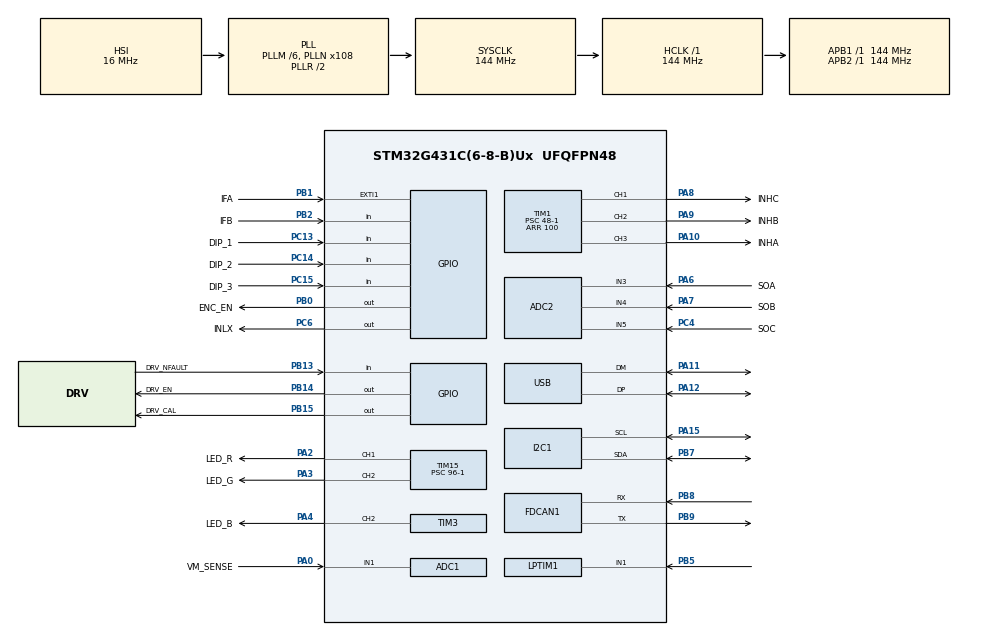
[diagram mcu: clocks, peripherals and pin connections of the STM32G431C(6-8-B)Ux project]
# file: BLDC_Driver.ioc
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ADC1.Channel-1\#ChannelRegularConversion=ADC_CHANNEL_1
ADC1.Channel-2\#ChannelRegularConversion=ADC_CHANNEL_TEMPSENSOR_ADC1
ADC1.ClockPrescaler=ADC_CLOCK_ASYNC_DIV64
ADC1.ContinuousConvMode=ENABLE
ADC1.DMAContinuousRequests=ENABLE
ADC1.NbrOfConversion=2
ADC1.NbrOfConversionFlag=1
ADC1.OffsetNumber-1\#ChannelRegularConversion=ADC_OFFSET_NONE
ADC1.OffsetNumber-2\#ChannelRegularConversion=ADC_OFFSET_NONE
ADC1.Rank-1\#ChannelRegularConversion=1
ADC1.Rank-2\#ChannelRegularConversion=2
ADC1.SamplingTime-1\#ChannelRegularConversion=ADC_SAMPLETIME_2CYCLES_5
ADC1.SamplingTime-2\#ChannelRegularConversion=ADC_SAMPLETIME_247CYCLES_5
ADC1.master=1
ADC2.Channel-2\#ChannelRegularConversion=ADC_CHANNEL_3
ADC2.Channel-3\#ChannelRegularConversion=ADC_CHANNEL_4
ADC2.Channel-4\#ChannelRegularConversion=ADC_CHANNEL_5
ADC2.ClockPrescaler=ADC_CLOCK_ASYNC_DIV64
ADC2.ContinuousConvMode=ENABLE
ADC2.DMAContinuousRequests=ENABLE
ADC2.EOCSelection=ADC_EOC_SINGLE_CONV
ADC2.NbrOfConversion=3
ADC2.NbrOfConversionFlag=1
ADC2.OffsetNumber-2\#ChannelRegularConversion=ADC_OFFSET_NONE
ADC2.OffsetNumber-3\#ChannelRegularConversion=ADC_OFFSET_NONE
ADC2.OffsetNumber-4\#ChannelRegularConversion=ADC_OFFSET_NONE
ADC2.Rank-2\#ChannelRegularConversion=1
ADC2.Rank-3\#ChannelRegularConversion=2
ADC2.Rank-4\#ChannelRegularConversion=3
ADC2.SamplingTime-2\#ChannelRegularConversion=ADC_SAMPLETIME_2CYCLES_5
ADC2.SamplingTime-3\#ChannelRegularConversion=ADC_SAMPLETIME_2CYCLES_5
ADC2.SamplingTime-4\#ChannelRegularConversion=ADC_SAMPLETIME_2CYCLES_5
Dma.ADC1.0.Direction=DMA_PERIPH_TO_MEMORY
Dma.ADC1.0.EventEnable=DISABLE
Dma.ADC1.0.Instance=DMA1_Channel1
Dma.ADC1.0.MemDataAlignment=DMA_MDATAALIGN_WORD
Dma.ADC1.0.MemInc=DMA_MINC_ENABLE
Dma.ADC1.0.Mode=DMA_CIRCULAR
Dma.ADC1.0.PeriphDataAlignment=DMA_PDATAALIGN_WORD
Dma.ADC1.0.PeriphInc=DMA_PINC_DISABLE
Dma.ADC1.0.Polarity=HAL_DMAMUX_REQ_GEN_RISING
Dma.ADC1.0.Priority=DMA_PRIORITY_LOW
Dma.ADC1.0.RequestNumber=1
Dma.ADC1.0.SignalID=NONE
Dma.ADC1.0.SyncEnable=DISABLE
Dma.ADC1.0.SyncPolarity=HAL_DMAMUX_SYNC_NO_EVENT
Dma.ADC1.0.SyncRequestNumber=1
Dma.ADC1.0.SyncSignalID=NONE
Dma.ADC2.1.Direction=DMA_PERIPH_TO_MEMORY
Dma.ADC2.1.EventEnable=DISABLE
Dma.ADC2.1.Instance=DMA1_Channel2
Dma.ADC2.1.MemDataAlignment=DMA_MDATAALIGN_WORD
Dma.ADC2.1.MemInc=DMA_MINC_ENABLE
Dma.ADC2.1.Mode=DMA_CIRCULAR
Dma.ADC2.1.PeriphDataAlignment=DMA_PDATAALIGN_WORD
Dma.ADC2.1.PeriphInc=DMA_PINC_DISABLE
Dma.ADC2.1.Polarity=HAL_DMAMUX_REQ_GEN_RISING
Dma.ADC2.1.Priority=DMA_PRIORITY_LOW
Dma.ADC2.1.RequestNumber=1
Dma.ADC2.1.SignalID=NONE
Dma.ADC2.1.SyncEnable=DISABLE
Dma.ADC2.1.SyncPolarity=HAL_DMAMUX_SYNC_NO_EVENT
Dma.ADC2.1.SyncRequestNumber=1
Dma.ADC2.1.SyncSignalID=NONE
Dma.Request0=ADC1
Dma.Request1=ADC2
FDCAN1.CalculateBaudRateNominal=1800000
FDCAN1.CalculateTimeBitNominal=555
FDCAN1.CalculateTimeQuantumNominal=111.11111111111111
FREERTOS.Tasks01=defaultTask,24,128,StartDefaultTask,Default,NULL,Dynamic,NULL,NULL;statusBlink,8,128,StartStatusBlink,Default,NULL,Dynamic,NULL,NULL;mainStateLoop,40,128,StartMainStateLoop,Default,NULL,Dynamic,NULL,NULL
I2C1.Timing=0x20B0D9FF
Mcu.Family=STM32G4
Mcu.Name=STM32G431C(6-8-B)Ux
Mcu.Package=UFQFPN48
NVIC.DMA1_Channel1_IRQn=true\:5\:0\:false\:false\:true\:true\:false\:true\:true
NVIC.DMA1_Channel2_IRQn=true\:5\:0\:false\:false\:true\:true\:false\:true\:true
NVIC.EXTI1_IRQn=true\:4\:0\:true\:false\:true\:false\:true\:true\:true
NVIC.PriorityGroup=NVIC_PRIORITYGROUP_4
NVIC.TIM2_IRQn=true\:15\:0\:false\:false\:true\:false\:false\:true\:true
NVIC.TIM6_DAC_IRQn=true\:5\:0\:true\:false\:true\:true\:true\:true\:true
NVIC.TimeBase=TIM2_IRQn
NVIC.TimeBaseIP=TIM2
NVIC.USB_LP_IRQn=true\:5\:0\:false\:false\:true\:true\:false\:true\:true
PA0.GPIO_Label=VM_SENSE
PA0.Mode=IN1-Single-Ended
PA0.Signal=ADC1_IN1
PA10.GPIO_Label=INHA
PA10.Signal=S_TIM1_CH3
PA11.Mode=Device
PA11.Signal=USB_DM
PA12.Mode=Device
PA12.Signal=USB_DP
PA13.Mode=Trace_Asynchronous_SW
PA13.Signal=SYS_JTMS-SWDIO
PA14.Mode=Trace_Asynchronous_SW
PA14.Signal=SYS_JTCK-SWCLK
PA15.Mode=I2C
PA15.Signal=I2C1_SCL
PA2.GPIO_Label=LED_R
PA2.Signal=S_TIM15_CH1
PA3.GPIO_Label=LED_G
PA3.Signal=S_TIM15_CH2
PA4.GPIO_Label=LED_B
PA4.Signal=S_TIM3_CH2
PA6.GPIO_Label=SOA
PA6.Mode=IN3-Single-Ended
PA6.Signal=ADC2_IN3
PA7.GPIO_Label=SOB
PA7.Mode=IN4-Single-Ended
PA7.Signal=ADC2_IN4
PA8.GPIO_Label=INHC
PA8.Signal=S_TIM1_CH1
PA9.GPIO_Label=INHB
PA9.Signal=S_TIM1_CH2
PB0.GPIO_Label=ENC_EN
PB0.Signal=GPIO_Output
PB1.GPIO_Label=IFA
PB1.Signal=GPXTI1
PB13.GPIO_Label=DRV_NFAULT
PB13.Signal=GPIO_Input
PB14.GPIO_Label=DRV_EN
PB14.Signal=GPIO_Output
PB15.GPIO_Label=DRV_CAL
PB15.Signal=GPIO_Output
PB2.GPIO_Label=IFB
PB2.Signal=GPIO_Input
PB3.Mode=Trace_Asynchronous_SW
PB3.Signal=SYS_JTDO-SWO
PB5.Mode=Counts_external_clock_standalone_1X_occur1
PB5.Signal=LPTIM1_IN1
PB7.Mode=I2C
PB7.Signal=I2C1_SDA
PB8-BOOT0.Mode=FDCAN_Activate
PB8-BOOT0.Signal=FDCAN1_RX
PB9.Mode=FDCAN_Activate
PB9.Signal=FDCAN1_TX
PC13.GPIO_Label=DIP_1
PC13.Signal=GPIO_Input
PC14-OSC32_IN.GPIO_Label=DIP_2
PC14-OSC32_IN.Signal=GPIO_Input
PC15-OSC32_OUT.GPIO_Label=DIP_3
PC15-OSC32_OUT.Signal=GPIO_Input
PC4.GPIO_Label=SOC
PC4.Mode=IN5-Single-Ended
PC4.Signal=ADC2_IN5
PC6.GPIO_Label=INLX
PC6.Signal=GPIO_Output
ProjectManager.HeapSize=0x200
ProjectManager.StackSize=0x400
ProjectManager.TargetToolchain=Makefile
RCC.ADC12Freq_Value=144000000
RCC.AHBFreq_Value=144000000
RCC.APB1Freq_Value=144000000
RCC.APB1TimFreq_Value=144000000
RCC.APB2Freq_Value=144000000
RCC.APB2TimFreq_Value=144000000
RCC.CortexFreq_Value=144000000
RCC.EXTERNAL_CLOCK_VALUE=12288000
RCC.HCLKFreq_Value=144000000
RCC.HSE_VALUE=8000000
RCC.HSI48_VALUE=48000000
RCC.HSI_VALUE=16000000
RCC.LSE_VALUE=32768
RCC.PLLM=RCC_PLLM_DIV6
RCC.PLLN=108
RCC.PLLQ=RCC_PLLQ_DIV6
RCC.SYSCLKFreq_VALUE=144000000
RCC.SYSCLKSource=RCC_SYSCLKSOURCE_PLLCLK
RCC.USBFreq_Value=48000000
RCC.VCOOutputFreq_Value=288000000
SH.S_TIM15_CH1.0=TIM15_CH1,PWM Generation1 CH1
SH.S_TIM15_CH2.0=TIM15_CH2,PWM Generation2 CH2
SH.S_TIM1_CH1.0=TIM1_CH1,PWM Generation1 CH1
SH.S_TIM1_CH2.0=TIM1_CH2,PWM Generation2 CH2
SH.S_TIM1_CH3.0=TIM1_CH3,PWM Generation3 CH3
SH.S_TIM3_CH2.0=TIM3_CH2,PWM Generation2 CH2
TIM1.Channel-PWM\ Generation1\ CH1=TIM_CHANNEL_1
TIM1.Channel-PWM\ Generation2\ CH2=TIM_CHANNEL_2
TIM1.Channel-PWM\ Generation3\ CH3=TIM_CHANNEL_3
TIM1.PeriodNoDither=100
TIM1.Prescaler=48-1
TIM15.Channel-PWM\ Generation1\ CH1=TIM_CHANNEL_1
TIM15.Channel-PWM\ Generation2\ CH2=TIM_CHANNEL_2
TIM15.PeriodNoDither=200-1
TIM15.Prescaler=96-1
TIM3.Channel-PWM\ Generation2\ CH2=TIM_CHANNEL_2
TIM3.PeriodNoDither=254-1
TIM3.Prescaler=96 -1
TIM6.PeriodNoDither=100-1
TIM6.Prescaler=144-1
TIM7.Prescaler=0
USB.Sof_enable=ENABLE
USB_DEVICE.CLASS_NAME_FS=CDC
USB_DEVICE.USBD_DEBUG_LEVEL=1
USB_DEVICE.USBD_SELF_POWERED=0
USB_DEVICE.VirtualMode=Cdc
USB_DEVICE.VirtualModeFS=Cdc_FS
VP_ADC1_TempSens_Input.Mode=IN-TempSens
VP_CORDIC_VS_CORDIC.Mode=CORDIC_Activate
VP_FREERTOS_VS_CMSIS_V2.Mode=CMSIS_V2
VP_SYS_VS_DBSignals.Mode=DisableDeadBatterySignals
VP_SYS_VS_tim2.Mode=TIM2
VP_TIM1_VS_ClockSourceINT.Mode=Internal
VP_TIM6_VS_ClockSourceINT.Mode=Enable_Timer
VP_TIM7_VS_ClockSourceINT.Mode=Enable_Timer
VP_USB_DEVICE_VS_USB_DEVICE_CDC_FS.Mode=CDC_FS
board=custom

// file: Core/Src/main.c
/* USER CODE BEGIN Header */
/**
  ******************************************************************************
  * @file           : main.c
  * @brief          : Main program body
  ******************************************************************************
  * @attention
  *
  * Copyright (c) 2023 STMicroelectronics.
  * All rights reserved.
  *
  * This software is licensed under terms that can be found in the LICENSE file
  * in the root directory of this software component.
  * If no LICENSE file comes with this software, it is provided AS-IS.
  *
  ******************************************************************************
  */
/* USER CODE END Header */
#include "main.h"
#include "cmsis_os.h"
#include "usb_device.h"

/* USER CODE BEGIN Includes */
#include "math.h"
#include "usbd_cdc_if.h"
#include "usbd_cdc.h"
#include "usbd_conf.h"
#include "string.h"

#include "sensors.h"
#include "drive.h"
/* USER CODE END Includes */

/* USER CODE BEGIN PD */
// #define PI 3.1415
/* USER CODE END PD */

ADC_HandleTypeDef hadc1;
ADC_HandleTypeDef hadc2;
DMA_HandleTypeDef hdma_adc1;
DMA_HandleTypeDef hdma_adc2;

CORDIC_HandleTypeDef hcordic;

FDCAN_HandleTypeDef hfdcan1;

I2C_HandleTypeDef hi2c1;

LPTIM_HandleTypeDef hlptim1;

TIM_HandleTypeDef htim1;
TIM_HandleTypeDef htim3;
TIM_HandleTypeDef htim6;
TIM_HandleTypeDef htim7;
TIM_HandleTypeDef htim15;

/* Definitions for defaultTask */
osThreadId_t defaultTaskHandle;
const osThreadAttr_t defaultTask_attributes = {
  .name = "defaultTask",
  .priority = (osPriority_t) osPriorityNormal,
  .stack_size = 128 * 4
};
/* Definitions for statusBlink */
osThreadId_t statusBlinkHandle;
const osThreadAttr_t statusBlink_attributes = {
  .name = "statusBlink",
  .priority = (osPriority_t) osPriorityLow,
  .stack_size = 128 * 4
};
/* Definitions for mainStateLoop */
osThreadId_t mainStateLoopHandle;
const osThreadAttr_t mainStateLoop_attributes = {
  .name = "mainStateLoop",
  .priority = (osPriority_t) osPriorityHigh,
  .stack_size = 128 * 4
};

void SystemClock_Config(void);
static void MX_GPIO_Init(void);
static void MX_DMA_Init(void);
static void MX_FDCAN1_Init(void);
static void MX_ADC1_Init(void);
static void MX_ADC2_Init(void);
static void MX_TIM1_Init(void);
static void MX_I2C1_Init(void);
static void MX_TIM3_Init(void);
static void MX_TIM15_Init(void);
static void MX_TIM6_Init(void);
static void MX_LPTIM1_Init(void);
static void MX_CORDIC_Init(void);
static void MX_TIM7_Init(void);
void StartDefaultTask(void *argument);
void StartStatusBlink(void *argument);
void StartMainStateLoop(void *argument);

/* USER CODE BEGIN 0 */

// static int8_t CDC_Receive_FS(uint8_t* Buf, uint32_t *Len){

//   osDelay(10);
//   char intStr[12];
//   sprintf(intStr, "%d\r\n", enc_position);

//   CDC_Transmit_FS((uint8_t*)intStr, strlen(intStr));

//   return (USBD_OK);
//   /* USER CODE END 6 */
// }

// TODO: not use floats or something idk
const uint16_t LED_MAX = 200;
void set_led_red_pwm(float value){
  TIM15->CCR1 = LED_MAX - (value * LED_MAX);
}

void set_led_blue_pwm(float value){
  TIM3->CCR2 = LED_MAX - (value * LED_MAX);
}

void set_led_green_pwm(float value){
  TIM15->CCR2 = LED_MAX - (value * 0.5 * LED_MAX);
}

void led_hsv(float H, float S, float V){

  // Log dimming curve
  if(V < 0){
    V = 0;
  }
  V = V*V;

  float C = V * S;
  float H_prime = fmod(H, 360) / 60.0f;
  // volatile float mod_test = fabs((float)fmod(H_prime, 2) - 1.0f;
  float X = C * (1.0f - fabs( fmod(H_prime, 2.0f) - 1.0f));

  float r = 0;
  float g = 0;
  float b = 0;

  if(0 <= H_prime && H_prime < 1){
    r = C;
    g = X;
  }else if(1 <= H_prime && H_prime < 2){
    r = X;
    g = C;
  }else if(2 <= H_prime && H_prime < 3){
    g = C;
    b = X;
  }else if(3 <= H_prime && H_prime < 4){
    g = X;
    b = C;
  }else if(4 <= H_prime && H_prime < 5){
    r = X;
    b = C;
  }else if(5 <= H_prime && H_prime < 6){
    r = C;
    b = X;
  }

  float m = V - C;

  set_led_red_pwm(r + m);
  set_led_green_pwm(g + m);
  set_led_blue_pwm(b + m);
}

/* USER CODE END 0 */

int main(void)
{

  /* MCU Configuration--------------------------------------------------------*/

  /* Reset of all peripherals, Initializes the Flash interface and the Systick. */
  HAL_Init();

  /* Configure the system clock */
  SystemClock_Config();

  /* Initialize all configured peripherals */
  MX_GPIO_Init();
  MX_DMA_Init();
  MX_FDCAN1_Init();
  MX_ADC1_Init();
  MX_ADC2_Init();
  MX_TIM1_Init();
  MX_I2C1_Init();
  MX_USB_Device_Init();
  MX_TIM3_Init();
  MX_TIM15_Init();
  MX_TIM6_Init();
  MX_LPTIM1_Init();
  MX_CORDIC_Init();
  MX_TIM7_Init();
  /* USER CODE BEGIN 2 */

  set_encoder_absolute_offset();
  // START PWM

  // Phases
  HAL_TIM_PWM_Start(&htim1, TIM_CHANNEL_1);
  HAL_TIM_PWM_Start(&htim1, TIM_CHANNEL_2);
  HAL_TIM_PWM_Start(&htim1, TIM_CHANNEL_3);
  // LED
  HAL_TIM_PWM_Start(&htim3, TIM_CHANNEL_2);
  HAL_TIM_PWM_Start(&htim15, TIM_CHANNEL_1);
  HAL_TIM_PWM_Start(&htim15, TIM_CHANNEL_2);

  // Start DMA on ADC channels
  start_ADC_DMA();

  // Calibrate DRV amps
  enable_DRV();
  calibrate_DRV_amps();

  // Start FOC timer
  HAL_TIM_Base_Start_IT(&htim6);

  HAL_GPIO_WritePin(INLX_GPIO_Port, INLX_Pin, 1);
  calibrate_encoder_offset(15);

  /* USER CODE END 2 */

  /* Init scheduler */
  osKernelInitialize();

  /* Create the thread(s) */
  /* creation of defaultTask */
  defaultTaskHandle = osThreadNew(StartDefaultTask, NULL, &defaultTask_attributes);

  /* creation of statusBlink */
  statusBlinkHandle = osThreadNew(StartStatusBlink, NULL, &statusBlink_attributes);

  /* creation of mainStateLoop */
  mainStateLoopHandle = osThreadNew(StartMainStateLoop, NULL, &mainStateLoop_attributes);

  /* Start scheduler */
  osKernelStart();
  /* We should never get here as control is now taken by the scheduler */
  /* Infinite loop */
  while (1)
  {

  }
}

void SystemClock_Config(void)
{
  RCC_OscInitTypeDef RCC_OscInitStruct = {0};
  RCC_ClkInitTypeDef RCC_ClkInitStruct = {0};

  /** Configure the main internal regulator output voltage
  */
  HAL_PWREx_ControlVoltageScaling(PWR_REGULATOR_VOLTAGE_SCALE1);

  /** Initializes the RCC Oscillators according to the specified parameters
  * in the RCC_OscInitTypeDef structure.
  */
  RCC_OscInitStruct.OscillatorType = RCC_OSCILLATORTYPE_HSI;
  RCC_OscInitStruct.HSIState = RCC_HSI_ON;
  RCC_OscInitStruct.HSICalibrationValue = RCC_HSICALIBRATION_DEFAULT;
  RCC_OscInitStruct.PLL.PLLState = RCC_PLL_ON;
  RCC_OscInitStruct.PLL.PLLSource = RCC_PLLSOURCE_HSI;
  RCC_OscInitStruct.PLL.PLLM = RCC_PLLM_DIV6;
  RCC_OscInitStruct.PLL.PLLN = 108;
  RCC_OscInitStruct.PLL.PLLP = RCC_PLLP_DIV2;
  RCC_OscInitStruct.PLL.PLLQ = RCC_PLLQ_DIV6;
  RCC_OscInitStruct.PLL.PLLR = RCC_PLLR_DIV2;
  if (HAL_RCC_OscConfig(&RCC_OscInitStruct) != HAL_OK)
  {
    Error_Handler();
  }

  /** Initializes the CPU, AHB and APB buses clocks
  */
  RCC_ClkInitStruct.ClockType = RCC_CLOCKTYPE_HCLK|RCC_CLOCKTYPE_SYSCLK
                              |RCC_CLOCKTYPE_PCLK1|RCC_CLOCKTYPE_PCLK2;
  RCC_ClkInitStruct.SYSCLKSource = RCC_SYSCLKSOURCE_PLLCLK;
  RCC_ClkInitStruct.AHBCLKDivider = RCC_SYSCLK_DIV1;
  RCC_ClkInitStruct.APB1CLKDivider = RCC_HCLK_DIV1;
  RCC_ClkInitStruct.APB2CLKDivider = RCC_HCLK_DIV1;

  if (HAL_RCC_ClockConfig(&RCC_ClkInitStruct, FLASH_LATENCY_4) != HAL_OK)
  {
    Error_Handler();
  }
}

static void MX_ADC1_Init(void)
{

  ADC_MultiModeTypeDef multimode = {0};
  ADC_ChannelConfTypeDef sConfig = {0};

  /** Common config
  */
  hadc1.Instance = ADC1;
  hadc1.Init.ClockPrescaler = ADC_CLOCK_ASYNC_DIV64;
  hadc1.Init.Resolution = ADC_RESOLUTION_12B;
  hadc1.Init.DataAlign = ADC_DATAALIGN_RIGHT;
  hadc1.Init.GainCompensation = 0;
  hadc1.Init.ScanConvMode = ADC_SCAN_ENABLE;
  hadc1.Init.EOCSelection = ADC_EOC_SINGLE_CONV;
  hadc1.Init.LowPowerAutoWait = DISABLE;
  hadc1.Init.ContinuousConvMode = ENABLE;
  hadc1.Init.NbrOfConversion = 2;
  hadc1.Init.DiscontinuousConvMode = DISABLE;
  hadc1.Init.ExternalTrigConv = ADC_SOFTWARE_START;
  hadc1.Init.ExternalTrigConvEdge = ADC_EXTERNALTRIGCONVEDGE_NONE;
  hadc1.Init.DMAContinuousRequests = ENABLE;
  hadc1.Init.Overrun = ADC_OVR_DATA_PRESERVED;
  hadc1.Init.OversamplingMode = DISABLE;
  if (HAL_ADC_Init(&hadc1) != HAL_OK)
  {
    Error_Handler();
  }

  /** Configure the ADC multi-mode
  */
  multimode.Mode = ADC_MODE_INDEPENDENT;
  if (HAL_ADCEx_MultiModeConfigChannel(&hadc1, &multimode) != HAL_OK)
  {
    Error_Handler();
  }

  /** Configure Regular Channel
  */
  sConfig.Channel = ADC_CHANNEL_1;
  sConfig.Rank = ADC_REGULAR_RANK_1;
  sConfig.SamplingTime = ADC_SAMPLETIME_2CYCLES_5;
  sConfig.SingleDiff = ADC_SINGLE_ENDED;
  sConfig.OffsetNumber = ADC_OFFSET_NONE;
  sConfig.Offset = 0;
  if (HAL_ADC_ConfigChannel(&hadc1, &sConfig) != HAL_OK)
  {
    Error_Handler();
  }

  /** Configure Regular Channel
  */
  sConfig.Channel = ADC_CHANNEL_TEMPSENSOR_ADC1;
  sConfig.Rank = ADC_REGULAR_RANK_2;
  sConfig.SamplingTime = ADC_SAMPLETIME_247CYCLES_5;
  if (HAL_ADC_ConfigChannel(&hadc1, &sConfig) != HAL_OK)
  {
    Error_Handler();
  }

}

static void MX_ADC2_Init(void)
{

  ADC_ChannelConfTypeDef sConfig = {0};

  /** Common config
  */
  hadc2.Instance = ADC2;
  hadc2.Init.ClockPrescaler = ADC_CLOCK_ASYNC_DIV64;
  hadc2.Init.Resolution = ADC_RESOLUTION_12B;
  hadc2.Init.DataAlign = ADC_DATAALIGN_RIGHT;
  hadc2.Init.GainCompensation = 0;
  hadc2.Init.ScanConvMode = ADC_SCAN_ENABLE;
  hadc2.Init.EOCSelection = ADC_EOC_SINGLE_CONV;
  hadc2.Init.LowPowerAutoWait = DISABLE;
  hadc2.Init.ContinuousConvMode = ENABLE;
  hadc2.Init.NbrOfConversion = 3;
  hadc2.Init.DiscontinuousConvMode = DISABLE;
  hadc2.Init.ExternalTrigConv = ADC_SOFTWARE_START;
  hadc2.Init.ExternalTrigConvEdge = ADC_EXTERNALTRIGCONVEDGE_NONE;
  hadc2.Init.DMAContinuousRequests = ENABLE;
  hadc2.Init.Overrun = ADC_OVR_DATA_PRESERVED;
  hadc2.Init.OversamplingMode = DISABLE;
  if (HAL_ADC_Init(&hadc2) != HAL_OK)
  {
    Error_Handler();
  }

  /** Configure Regular Channel
  */
  sConfig.Channel = ADC_CHANNEL_3;
  sConfig.Rank = ADC_REGULAR_RANK_1;
  sConfig.SamplingTime = ADC_SAMPLETIME_2CYCLES_5;
  sConfig.SingleDiff = ADC_SINGLE_ENDED;
  sConfig.OffsetNumber = ADC_OFFSET_NONE;
  sConfig.Offset = 0;
  if (HAL_ADC_ConfigChannel(&hadc2, &sConfig) != HAL_OK)
  {
    Error_Handler();
  }

  /** Configure Regular Channel
  */
  sConfig.Channel = ADC_CHANNEL_4;
  sConfig.Rank = ADC_REGULAR_RANK_2;
  if (HAL_ADC_ConfigChannel(&hadc2, &sConfig) != HAL_OK)
  {
    Error_Handler();
  }

  /** Configure Regular Channel
  */
  sConfig.Channel = ADC_CHANNEL_5;
  sConfig.Rank = ADC_REGULAR_RANK_3;
  if (HAL_ADC_ConfigChannel(&hadc2, &sConfig) != HAL_OK)
  {
    Error_Handler();
  }

}

static void MX_CORDIC_Init(void)
{

  hcordic.Instance = CORDIC;
  if (HAL_CORDIC_Init(&hcordic) != HAL_OK)
  {
    Error_Handler();
  }

}

static void MX_FDCAN1_Init(void)
{

  hfdcan1.Instance = FDCAN1;
  hfdcan1.Init.ClockDivider = FDCAN_CLOCK_DIV1;
  hfdcan1.Init.FrameFormat = FDCAN_FRAME_CLASSIC;
  hfdcan1.Init.Mode = FDCAN_MODE_NORMAL;
  hfdcan1.Init.AutoRetransmission = DISABLE;
  hfdcan1.Init.TransmitPause = DISABLE;
  hfdcan1.Init.ProtocolException = DISABLE;
  hfdcan1.Init.NominalPrescaler = 16;
  hfdcan1.Init.NominalSyncJumpWidth = 1;
  hfdcan1.Init.NominalTimeSeg1 = 2;
  hfdcan1.Init.NominalTimeSeg2 = 2;
  hfdcan1.Init.DataPrescaler = 1;
  hfdcan1.Init.DataSyncJumpWidth = 1;
  hfdcan1.Init.DataTimeSeg1 = 1;
  hfdcan1.Init.DataTimeSeg2 = 1;
  hfdcan1.Init.StdFiltersNbr = 0;
  hfdcan1.Init.ExtFiltersNbr = 0;
  hfdcan1.Init.TxFifoQueueMode = FDCAN_TX_FIFO_OPERATION;
  if (HAL_FDCAN_Init(&hfdcan1) != HAL_OK)
  {
    Error_Handler();
  }

}

static void MX_I2C1_Init(void)
{

  hi2c1.Instance = I2C1;
  hi2c1.Init.Timing = 0x20B0D9FF;
  hi2c1.Init.OwnAddress1 = 0;
  hi2c1.Init.AddressingMode = I2C_ADDRESSINGMODE_7BIT;
  hi2c1.Init.DualAddressMode = I2C_DUALADDRESS_DISABLE;
  hi2c1.Init.OwnAddress2 = 0;
  hi2c1.Init.OwnAddress2Masks = I2C_OA2_NOMASK;
  hi2c1.Init.GeneralCallMode = I2C_GENERALCALL_DISABLE;
  hi2c1.Init.NoStretchMode = I2C_NOSTRETCH_DISABLE;
  if (HAL_I2C_Init(&hi2c1) != HAL_OK)
  {
    Error_Handler();
  }

  /** Configure Analogue filter
  */
  if (HAL_I2CEx_ConfigAnalogFilter(&hi2c1, I2C_ANALOGFILTER_ENABLE) != HAL_OK)
  {
    Error_Handler();
  }

  /** Configure Digital filter
  */
  if (HAL_I2CEx_ConfigDigitalFilter(&hi2c1, 0) != HAL_OK)
  {
    Error_Handler();
  }

}

static void MX_LPTIM1_Init(void)
{

  hlptim1.Instance = LPTIM1;
  hlptim1.Init.Clock.Source = LPTIM_CLOCKSOURCE_ULPTIM;
  hlptim1.Init.Clock.Prescaler = LPTIM_PRESCALER_DIV1;
  hlptim1.Init.UltraLowPowerClock.Polarity = LPTIM_CLOCKPOLARITY_RISING;
  hlptim1.Init.UltraLowPowerClock.SampleTime = LPTIM_CLOCKSAMPLETIME_DIRECTTRANSITION;
  hlptim1.Init.Trigger.Source = LPTIM_TRIGSOURCE_SOFTWARE;
  hlptim1.Init.OutputPolarity = LPTIM_OUTPUTPOLARITY_HIGH;
  hlptim1.Init.UpdateMode = LPTIM_UPDATE_IMMEDIATE;
  hlptim1.Init.CounterSource = LPTIM_COUNTERSOURCE_EXTERNAL;
  hlptim1.Init.Input1Source = LPTIM_INPUT1SOURCE_GPIO;
  hlptim1.Init.Input2Source = LPTIM_INPUT2SOURCE_GPIO;
  if (HAL_LPTIM_Init(&hlptim1) != HAL_OK)
  {
    Error_Handler();
  }

}

static void MX_TIM1_Init(void)
{

  TIM_ClockConfigTypeDef sClockSourceConfig = {0};
  TIM_MasterConfigTypeDef sMasterConfig = {0};
  TIM_OC_InitTypeDef sConfigOC = {0};
  TIM_BreakDeadTimeConfigTypeDef sBreakDeadTimeConfig = {0};

  htim1.Instance = TIM1;
  htim1.Init.Prescaler = 48-1;
  htim1.Init.CounterMode = TIM_COUNTERMODE_UP;
  htim1.Init.Period = 100;
  htim1.Init.ClockDivision = TIM_CLOCKDIVISION_DIV1;
  htim1.Init.RepetitionCounter = 0;
  htim1.Init.AutoReloadPreload = TIM_AUTORELOAD_PRELOAD_DISABLE;
  if (HAL_TIM_Base_Init(&htim1) != HAL_OK)
  {
    Error_Handler();
  }
  sClockSourceConfig.ClockSource = TIM_CLOCKSOURCE_INTERNAL;
  if (HAL_TIM_ConfigClockSource(&htim1, &sClockSourceConfig) != HAL_OK)
  {
    Error_Handler();
  }
  if (HAL_TIM_PWM_Init(&htim1) != HAL_OK)
  {
    Error_Handler();
  }
  sMasterConfig.MasterOutputTrigger = TIM_TRGO_RESET;
  sMasterConfig.MasterOutputTrigger2 = TIM_TRGO2_RESET;
  sMasterConfig.MasterSlaveMode = TIM_MASTERSLAVEMODE_DISABLE;
  if (HAL_TIMEx_MasterConfigSynchronization(&htim1, &sMasterConfig) != HAL_OK)
  {
    Error_Handler();
  }
  sConfigOC.OCMode = TIM_OCMODE_PWM1;
  sConfigOC.Pulse = 0;
  sConfigOC.OCPolarity = TIM_OCPOLARITY_HIGH;
  sConfigOC.OCNPolarity = TIM_OCNPOLARITY_HIGH;
  sConfigOC.OCFastMode = TIM_OCFAST_DISABLE;
  sConfigOC.OCIdleState = TIM_OCIDLESTATE_RESET;
  sConfigOC.OCNIdleState = TIM_OCNIDLESTATE_RESET;
  if (HAL_TIM_PWM_ConfigChannel(&htim1, &sConfigOC, TIM_CHANNEL_1) != HAL_OK)
  {
    Error_Handler();
  }
  if (HAL_TIM_PWM_ConfigChannel(&htim1, &sConfigOC, TIM_CHANNEL_2) != HAL_OK)
  {
    Error_Handler();
  }
  if (HAL_TIM_PWM_ConfigChannel(&htim1, &sConfigOC, TIM_CHANNEL_3) != HAL_OK)
  {
    Error_Handler();
  }
  sBreakDeadTimeConfig.OffStateRunMode = TIM_OSSR_DISABLE;
  sBreakDeadTimeConfig.OffStateIDLEMode = TIM_OSSI_DISABLE;
  sBreakDeadTimeConfig.LockLevel = TIM_LOCKLEVEL_OFF;
  sBreakDeadTimeConfig.DeadTime = 0;
  sBreakDeadTimeConfig.BreakState = TIM_BREAK_DISABLE;
  sBreakDeadTimeConfig.BreakPolarity = TIM_BREAKPOLARITY_HIGH;
  sBreakDeadTimeConfig.BreakFilter = 0;
  sBreakDeadTimeConfig.BreakAFMode = TIM_BREAK_AFMODE_INPUT;
  sBreakDeadTimeConfig.Break2State = TIM_BREAK2_DISABLE;
  sBreakDeadTimeConfig.Break2Polarity = TIM_BREAK2POLARITY_HIGH;
  sBreakDeadTimeConfig.Break2Filter = 0;
  sBreakDeadTimeConfig.Break2AFMode = TIM_BREAK_AFMODE_INPUT;
  sBreakDeadTimeConfig.AutomaticOutput = TIM_AUTOMATICOUTPUT_DISABLE;
  if (HAL_TIMEx_ConfigBreakDeadTime(&htim1, &sBreakDeadTimeConfig) != HAL_OK)
  {
    Error_Handler();
  }
  HAL_TIM_MspPostInit(&htim1);

}

static void MX_TIM3_Init(void)
{

  TIM_MasterConfigTypeDef sMasterConfig = {0};
  TIM_OC_InitTypeDef sConfigOC = {0};

  htim3.Instance = TIM3;
  htim3.Init.Prescaler = 96 -1;
  htim3.Init.CounterMode = TIM_COUNTERMODE_UP;
  htim3.Init.Period = 253;
  htim3.Init.ClockDivision = TIM_CLOCKDIVISION_DIV1;
  htim3.Init.AutoReloadPreload = TIM_AUTORELOAD_PRELOAD_DISABLE;
  if (HAL_TIM_PWM_Init(&htim3) != HAL_OK)
  {
    Error_Handler();
  }
  sMasterConfig.MasterOutputTrigger = TIM_TRGO_RESET;
  sMasterConfig.MasterSlaveMode = TIM_MASTERSLAVEMODE_DISABLE;
  if (HAL_TIMEx_MasterConfigSynchronization(&htim3, &sMasterConfig) != HAL_OK)
  {
    Error_Handler();
  }
  sConfigOC.OCMode = TIM_OCMODE_PWM1;
  sConfigOC.Pulse = 0;
  sConfigOC.OCPolarity = TIM_OCPOLARITY_HIGH;
  sConfigOC.OCFastMode = TIM_OCFAST_DISABLE;
  if (HAL_TIM_PWM_ConfigChannel(&htim3, &sConfigOC, TIM_CHANNEL_2) != HAL_OK)
  {
    Error_Handler();
  }
  HAL_TIM_MspPostInit(&htim3);

}

static void MX_TIM6_Init(void)
{

  TIM_MasterConfigTypeDef sMasterConfig = {0};

  htim6.Instance = TIM6;
  htim6.Init.Prescaler = 144-1;
  htim6.Init.CounterMode = TIM_COUNTERMODE_UP;
  htim6.Init.Period = 99;
  htim6.Init.AutoReloadPreload = TIM_AUTORELOAD_PRELOAD_DISABLE;
  if (HAL_TIM_Base_Init(&htim6) != HAL_OK)
  {
    Error_Handler();
  }
  sMasterConfig.MasterOutputTrigger = TIM_TRGO_RESET;
  sMasterConfig.MasterSlaveMode = TIM_MASTERSLAVEMODE_DISABLE;
  if (HAL_TIMEx_MasterConfigSynchronization(&htim6, &sMasterConfig) != HAL_OK)
  {
    Error_Handler();
  }

}

static void MX_TIM7_Init(void)
{

  TIM_MasterConfigTypeDef sMasterConfig = {0};

  htim7.Instance = TIM7;
  htim7.Init.Prescaler = 0;
  htim7.Init.CounterMode = TIM_COUNTERMODE_UP;
  htim7.Init.Period = 65535;
  htim7.Init.AutoReloadPreload = TIM_AUTORELOAD_PRELOAD_DISABLE;
  if (HAL_TIM_Base_Init(&htim7) != HAL_OK)
  {
    Error_Handler();
  }
  sMasterConfig.MasterOutputTrigger = TIM_TRGO_RESET;
  sMasterConfig.MasterSlaveMode = TIM_MASTERSLAVEMODE_DISABLE;
  if (HAL_TIMEx_MasterConfigSynchronization(&htim7, &sMasterConfig) != HAL_OK)
  {
    Error_Handler();
  }

}

static void MX_TIM15_Init(void)
{

  TIM_MasterConfigTypeDef sMasterConfig = {0};
  TIM_OC_InitTypeDef sConfigOC = {0};
  TIM_BreakDeadTimeConfigTypeDef sBreakDeadTimeConfig = {0};

  htim15.Instance = TIM15;
  htim15.Init.Prescaler = 96-1;
  htim15.Init.CounterMode = TIM_COUNTERMODE_UP;
  htim15.Init.Period = 199;
  htim15.Init.ClockDivision = TIM_CLOCKDIVISION_DIV1;
  htim15.Init.RepetitionCounter = 0;
  htim15.Init.AutoReloadPreload = TIM_AUTORELOAD_PRELOAD_DISABLE;
  if (HAL_TIM_PWM_Init(&htim15) != HAL_OK)
  {
    Error_Handler();
  }
  sMasterConfig.MasterOutputTrigger = TIM_TRGO_RESET;
  sMasterConfig.MasterSlaveMode = TIM_MASTERSLAVEMODE_DISABLE;
  if (HAL_TIMEx_MasterConfigSynchronization(&htim15, &sMasterConfig) != HAL_OK)
  {
    Error_Handler();
  }
  sConfigOC.OCMode = TIM_OCMODE_PWM1;
  sConfigOC.Pulse = 0;
  sConfigOC.OCPolarity = TIM_OCPOLARITY_HIGH;
  sConfigOC.OCNPolarity = TIM_OCNPOLARITY_HIGH;
  sConfigOC.OCFastMode = TIM_OCFAST_DISABLE;
  sConfigOC.OCIdleState = TIM_OCIDLESTATE_RESET;
  sConfigOC.OCNIdleState = TIM_OCNIDLESTATE_RESET;
  if (HAL_TIM_PWM_ConfigChannel(&htim15, &sConfigOC, TIM_CHANNEL_1) != HAL_OK)
  {
    Error_Handler();
  }
  if (HAL_TIM_PWM_ConfigChannel(&htim15, &sConfigOC, TIM_CHANNEL_2) != HAL_OK)
  {
    Error_Handler();
  }
  sBreakDeadTimeConfig.OffStateRunMode = TIM_OSSR_DISABLE;
  sBreakDeadTimeConfig.OffStateIDLEMode = TIM_OSSI_DISABLE;
  sBreakDeadTimeConfig.LockLevel = TIM_LOCKLEVEL_OFF;
  sBreakDeadTimeConfig.DeadTime = 0;
  sBreakDeadTimeConfig.BreakState = TIM_BREAK_DISABLE;
  sBreakDeadTimeConfig.BreakPolarity = TIM_BREAKPOLARITY_HIGH;
  sBreakDeadTimeConfig.BreakFilter = 0;
  sBreakDeadTimeConfig.AutomaticOutput = TIM_AUTOMATICOUTPUT_DISABLE;
  if (HAL_TIMEx_ConfigBreakDeadTime(&htim15, &sBreakDeadTimeConfig) != HAL_OK)
  {
    Error_Handler();
  }
  HAL_TIM_MspPostInit(&htim15);

}

static void MX_DMA_Init(void)
{

  /* DMA controller clock enable */
  __HAL_RCC_DMAMUX1_CLK_ENABLE();
  __HAL_RCC_DMA1_CLK_ENABLE();

  /* DMA interrupt init */
  /* DMA1_Channel1_IRQn interrupt configuration */
  HAL_NVIC_SetPriority(DMA1_Channel1_IRQn, 5, 0);
  HAL_NVIC_EnableIRQ(DMA1_Channel1_IRQn);
  /* DMA1_Channel2_IRQn interrupt configuration */
  HAL_NVIC_SetPriority(DMA1_Channel2_IRQn, 5, 0);
  HAL_NVIC_EnableIRQ(DMA1_Channel2_IRQn);

}

static void MX_GPIO_Init(void)
{
  GPIO_InitTypeDef GPIO_InitStruct = {0};

  /* GPIO Ports Clock Enable */
  __HAL_RCC_GPIOC_CLK_ENABLE();
  __HAL_RCC_GPIOA_CLK_ENABLE();
  __HAL_RCC_GPIOB_CLK_ENABLE();

  /*Configure GPIO pin Output Level */
  HAL_GPIO_WritePin(GPIOB, ENC_EN_Pin|DRV_EN_Pin|DRV_CAL_Pin, GPIO_PIN_RESET);

  /*Configure GPIO pin Output Level */
  HAL_GPIO_WritePin(INLX_GPIO_Port, INLX_Pin, GPIO_PIN_RESET);

  /*Configure GPIO pins : DIP_1_Pin DIP_2_Pin DIP_3_Pin */
  GPIO_InitStruct.Pin = DIP_1_Pin|DIP_2_Pin|DIP_3_Pin;
  GPIO_InitStruct.Mode = GPIO_MODE_INPUT;
  GPIO_InitStruct.Pull = GPIO_NOPULL;
  HAL_GPIO_Init(GPIOC, &GPIO_InitStruct);

  /*Configure GPIO pins : ENC_EN_Pin DRV_EN_Pin DRV_CAL_Pin */
  GPIO_InitStruct.Pin = ENC_EN_Pin|DRV_EN_Pin|DRV_CAL_Pin;
  GPIO_InitStruct.Mode = GPIO_MODE_OUTPUT_PP;
  GPIO_InitStruct.Pull = GPIO_NOPULL;
  GPIO_InitStruct.Speed = GPIO_SPEED_FREQ_LOW;
  HAL_GPIO_Init(GPIOB, &GPIO_InitStruct);

  /*Configure GPIO pin : IFA_Pin */
  GPIO_InitStruct.Pin = IFA_Pin;
  GPIO_InitStruct.Mode = GPIO_MODE_IT_RISING;
  GPIO_InitStruct.Pull = GPIO_NOPULL;
  HAL_GPIO_Init(IFA_GPIO_Port, &GPIO_InitStruct);

  /*Configure GPIO pins : IFB_Pin DRV_NFAULT_Pin */
  GPIO_InitStruct.Pin = IFB_Pin|DRV_NFAULT_Pin;
  GPIO_InitStruct.Mode = GPIO_MODE_INPUT;
  GPIO_InitStruct.Pull = GPIO_NOPULL;
  HAL_GPIO_Init(GPIOB, &GPIO_InitStruct);

  /*Configure GPIO pin : INLX_Pin */
  GPIO_InitStruct.Pin = INLX_Pin;
  GPIO_InitStruct.Mode = GPIO_MODE_OUTPUT_PP;
  GPIO_InitStruct.Pull = GPIO_NOPULL;
  GPIO_InitStruct.Speed = GPIO_SPEED_FREQ_LOW;
  HAL_GPIO_Init(INLX_GPIO_Port, &GPIO_InitStruct);

  /* EXTI interrupt init*/
  HAL_NVIC_SetPriority(EXTI1_IRQn, 4, 0);
  HAL_NVIC_EnableIRQ(EXTI1_IRQn);

}

/* USER CODE BEGIN 4 */
void HAL_GPIO_EXTI_Callback(uint16_t pin){
  if(pin == IFA_Pin){
    encoder_ISR();
  }
}
/* USER CODE END 4 */

void StartDefaultTask(void *argument)
{
  /* USER CODE BEGIN 5 */
  /* Infinite loop */

  for(;;)
  {
    osDelay(1000);
  }
  /* USER CODE END 5 */
}

void StartStatusBlink(void *argument)
{
  /* USER CODE BEGIN StartStatusBlink */
  /* Infinite loop */
  uint16_t led_timer = 0;
  float r_scale = 0.5f;
  float g_scale = 0.1f;
  float b_scale = 0.0f;

  float speed = 0.01f;
  for(;;)
  {
    led_hsv(enc_angle_int / (4096.0f / 360.0f) + 10000.0f, 1.0f, 1.0f);

    char intStr[20];
    sprintf(intStr, "encoder_angle %d \r\n", enc_angle_int);
    CDC_Transmit_FS((uint8_t*)intStr, strlen(intStr));
    osDelay(1);

    sprintf(intStr, "electrical_angle %d \r\n", electrical_angle);
    CDC_Transmit_FS((uint8_t*)intStr, strlen(intStr));
    osDelay(1);

    sprintf(intStr, "electrical_angle_offset %d \r\n", electrical_angle_offset);
    CDC_Transmit_FS((uint8_t*)intStr, strlen(intStr));
    osDelay(1);

    sprintf(intStr, "angle %d \r\n", (int) (angle * 100));
    CDC_Transmit_FS((uint8_t*)intStr, strlen(intStr));
    osDelay(1);

    sprintf(intStr, "temp_adc %d \r\n", adc1_dma[1]);
    CDC_Transmit_FS((uint8_t*)intStr, strlen(intStr));
    osDelay(1);

    sprintf(intStr, "vmot_adc %d \r\n", adc1_dma[0]);
    CDC_Transmit_FS((uint8_t*)intStr, strlen(intStr));
    osDelay(1);

    update_current_sense();

    sprintf(intStr, "adc2_0 %d \r\n", (int)(current_sense[0] * 100));
    CDC_Transmit_FS((uint8_t*)intStr, strlen(intStr));
    osDelay(1);

    sprintf(intStr, "adc2_1 %d \r\n", (int)(current_sense[1] * 100));
    CDC_Transmit_FS((uint8_t*)intStr, strlen(intStr));
    osDelay(1);

    sprintf(intStr, "adc2_2 %d \r\n", (int)(current_sense[2] * 100));
    CDC_Transmit_FS((uint8_t*)intStr, strlen(intStr));
    osDelay(1);

    osDelay(30);
  }
  /* USER CODE END StartStatusBlink */
}

void StartMainStateLoop(void *argument)
{
  /* USER CODE BEGIN StartMainStateLoop */
  /* Infinite loop */

  // volatile HAL_StatusTypeDef status;

  // uint16_t eeprom_address = 0xA0;
  // uint16_t data_address = 0x00;
  // uint8_t data_to_write = 0x42;

  // status = HAL_I2C_Mem_Write(&hi2c1, eeprom_address, eeprom_address, I2C_MEMADD_SIZE_8BIT, &data_to_write, 1, 100);

  for(;;)
  {
    // target_encoder_value = 4096 * 1;
    // osDelay(3000);
    // target_encoder_value = 0;
    // osDelay(3000);
  }
  /* USER CODE END StartMainStateLoop */
}

void HAL_TIM_PeriodElapsedCallback(TIM_HandleTypeDef *htim)
{
  /* USER CODE BEGIN Callback 0 */
  if (htim->Instance == TIM6) {
    foc_interrupt();
  }

  /* USER CODE END Callback 0 */
  if (htim->Instance == TIM2) {
    HAL_IncTick();
  }
}

void Error_Handler(void)
{
  __disable_irq();
  while (1)
  {
  }
}
